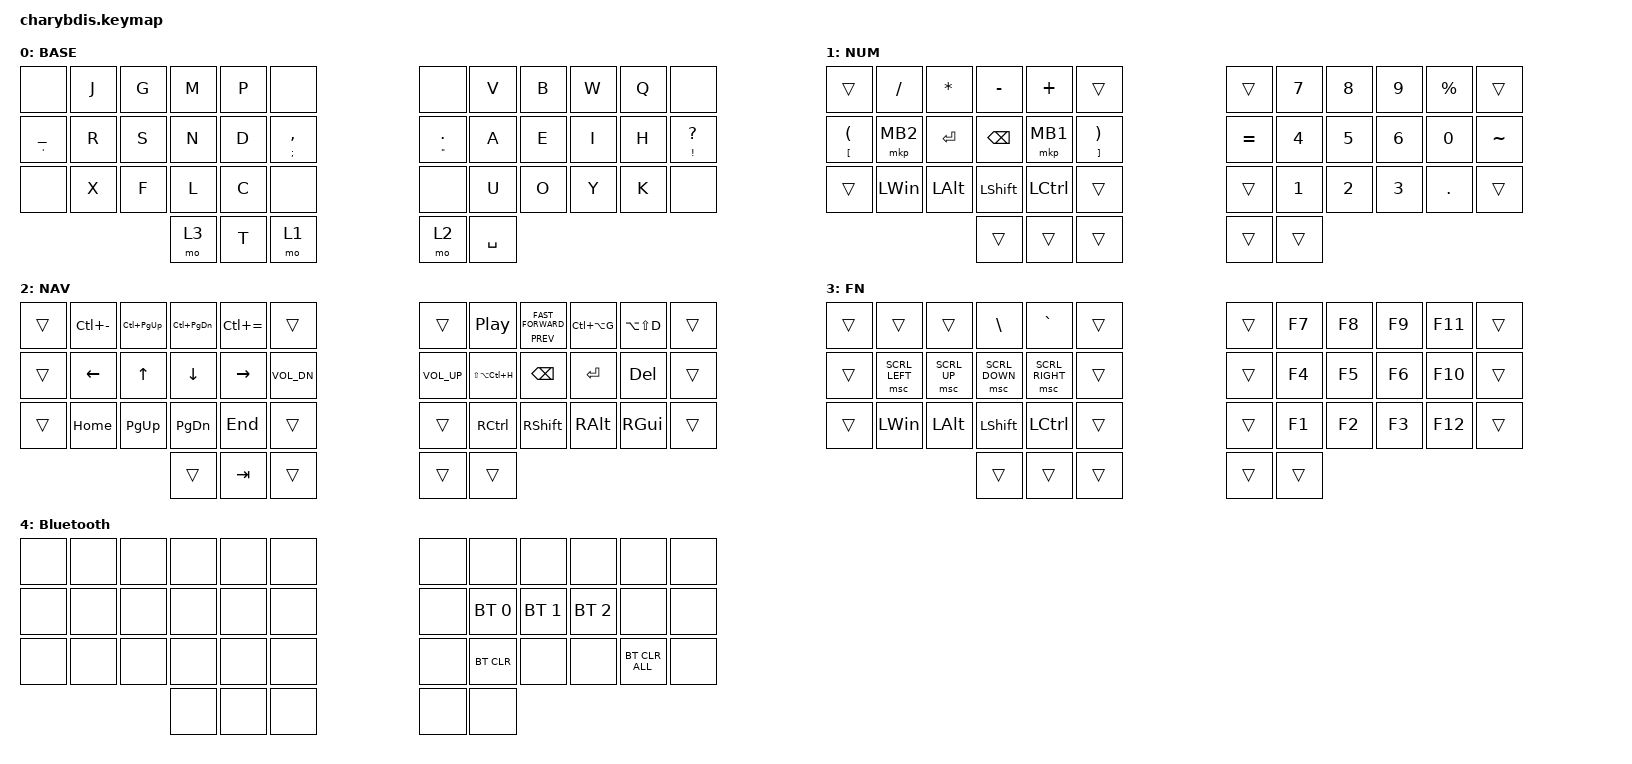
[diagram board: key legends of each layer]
#include <behaviors/mouse_keys.dtsi>
#include <dt-bindings/zmk/mouse.h>
#include <behaviors.dtsi>
#include <dt-bindings/zmk/bt.h>
#include <dt-bindings/zmk/keys.h>
#include <dt-bindings/zmk/pointing.h>

#define U_TAPPING_TERM 200

&mt { flavor = "balanced"; };

/ {
    chosen { zmk,matrix_transform = &default_transform; };
};

/ {
    combos {
        compatible = "zmk,combos";

        btLoader {
            bindings = <&bootloader>;
            key-positions = <1 10>;
            timeout-ms = <30>;
            layers = <2>;
        };

        z {
            bindings = <&kp Z>;
            key-positions = <9 10>;
            layers = <0>;
        };

        alt-tab {
            bindings = <&kp LC(LA(TAB))>;
            key-positions = <14 15 16>;
        };

        esc {
            bindings = <&kp ESCAPE>;
            key-positions = <19 20 21>;
        };

        uTools {
            bindings = <&kp LS(LA(LC(E)))>;
            key-positions = <16 19 20>;
        };

        Mouseless {
            bindings = <&kp LA(LS(LC(A)))>;
            key-positions = <15 16 19>;
        };

        Fn_to_Bluetooth {
            bindings = <&mo 4>;
            key-positions = <2 3>;
            layers = <3>;
        };
    };

    keymap {
        compatible = "zmk,keymap";

        BASE {
            bindings = <
&none               &kp J  &kp G  &kp M  &kp P  &none                  &none                     &kp V      &kp B  &kp W  &kp Q  &none
&mt SQT UNDERSCORE  &kp R  &kp S  &kp N  &kp D  &mt SEMICOLON COMMA    &mt DOUBLE_QUOTES PERIOD  &kp A      &kp E  &kp I  &kp H  &mt EXCLAMATION QUESTION
&none               &kp X  &kp F  &kp L  &kp C  &none                  &none                     &kp U      &kp O  &kp Y  &kp K  &none
                                  &mo 3  &kp T  &mo 1                  &mo 2                     &kp SPACE
            >;
        };

        NUM {
            bindings = <
&trans                             &kp SLASH  &kp ASTERISK  &kp MINUS      &kp PLUS   &trans                                 &trans     &kp N7        &kp N8        &kp N9        &kp PERCENT  &trans
&mt LEFT_BRACKET LEFT_PARENTHESIS  &mkp MB2   &kp ENTER     &kp BACKSPACE  &mkp MB1   &mt RIGHT_BRACKET RIGHT_PARENTHESIS    &kp EQUAL  &kp NUMBER_4  &kp N5        &kp NUMBER_6  &kp N0       &kp TILDE
&trans                             &kp LWIN   &kp LEFT_ALT  &kp LSHIFT     &kp LCTRL  &trans                                 &trans     &kp NUMBER_1  &kp NUMBER_2  &kp NUMBER_3  &kp PERIOD   &trans
                                                            &trans         &trans     &trans                                 &trans     &trans
            >;
        };

        NAV {
            bindings = <
&trans  &kp LC(MINUS)   &kp LC(PG_UP)  &kp LC(PAGE_DOWN)  &kp LC(EQUAL)    &trans          &trans           &kp C_PP           &mt C_PREV C_FAST_FORWARD  &kp LC(LA(G))  &kp LA(LS(D))  &trans
&trans  &kp LEFT_ARROW  &kp UP_ARROW   &kp DOWN_ARROW     &kp RIGHT_ARROW  &kp C_VOL_DN    &kp C_VOLUME_UP  &kp LS(LA(LC(H)))  &kp BACKSPACE              &kp ENTER      &kp DELETE     &trans
&trans  &kp HOME        &kp PG_UP      &kp PG_DN          &kp END          &trans          &trans           &kp RCTRL          &kp RIGHT_SHIFT            &kp RALT       &kp RGUI       &trans
                                       &trans             &kp TAB          &trans          &trans           &trans
            >;
        };

        FN {
            bindings = <
&trans  &trans          &trans        &kp BACKSLASH   &kp GRAVE        &trans    &trans  &kp F7  &kp F8  &kp F9  &kp F11  &trans
&trans  &msc SCRL_LEFT  &msc SCRL_UP  &msc SCRL_DOWN  &msc SCRL_RIGHT  &trans    &trans  &kp F4  &kp F5  &kp F6  &kp F10  &trans
&trans  &kp LEFT_WIN    &kp LEFT_ALT  &kp LSHIFT      &kp LCTRL        &trans    &trans  &kp F1  &kp F2  &kp F3  &kp F12  &trans
                                      &trans          &trans           &trans    &trans  &trans
            >;
        };

        Bluetooth {
            bindings = <
&none  &none  &none  &none  &none  &none    &none  &none         &none         &none         &none           &none
&none  &none  &none  &none  &none  &none    &none  &bt BT_SEL 0  &bt BT_SEL 1  &bt BT_SEL 2  &none           &none
&none  &none  &none  &none  &none  &none    &none  &bt BT_CLR    &none         &none         &bt BT_CLR_ALL  &none
                     &none  &none  &none    &none  &none
            >;
        };
    };
};
